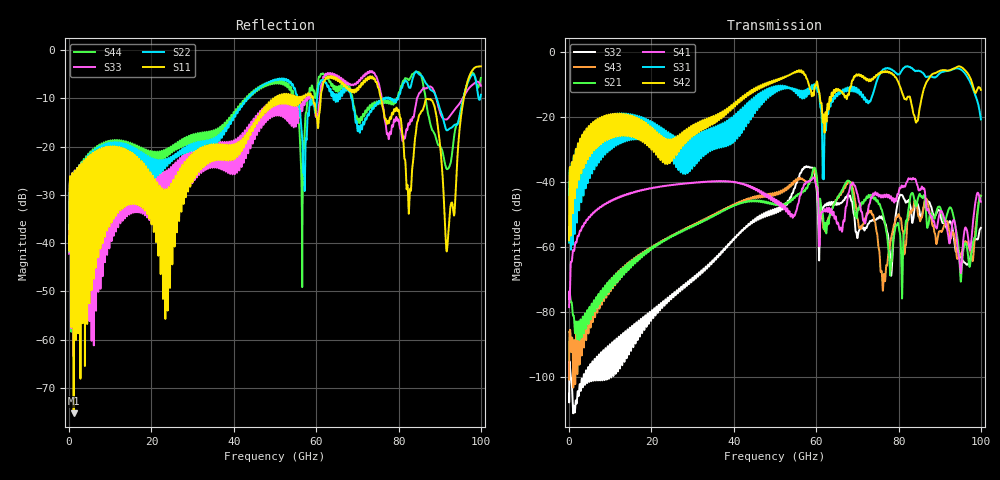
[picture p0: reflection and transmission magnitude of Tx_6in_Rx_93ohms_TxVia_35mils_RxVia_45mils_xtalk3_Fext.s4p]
! Info: Touchstone file created by Circ.  Input file=Tx_6in_Rx_93ohms_TxVia_35mils_RxVia_45mils.circ
# Hz S RI R 50
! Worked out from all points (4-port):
!   10000 points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, 10 MHz to 100 GHz, reference 50 ohm
!   strongest paths, dB at 10 MHz, 25.01 GHz, 50.01 GHz, 75.01 GHz, 100 GHz:
!     S42: -58.1, -32.9, -9.2, -6.8, -11.7
!     S31: -58.8, -29.3, -12.4, -8.0, -20.8
!     S41: -78.6, -41.0, -46.3, -43.8, -46.2
!     S21: -75.6, -56.6, -46.9, -46.1, -44.3
!     S43: -100.9, -56.4, -43.7, -58.6, -44.3
!     S32: -105.3, -74.7, -48.4, -51.3, -54.2
!   lowest |S11| = -75.3 dB at 1.11 GHz (marker M1), VSWR 1.00, Z = 50 - j0.00714 ohm
!   |S11| at or under -10 dB: start of sweep to 49.54 GHz; 59.26 GHz to 61.09 GHz (1.837 GHz wide, 3.05 % of centre); 75.77 GHz to 95.85 GHz (20.07 GHz wide, 23.4 % of centre)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
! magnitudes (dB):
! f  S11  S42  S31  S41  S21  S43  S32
! 10 MHz  -41.6  -58.1  -58.8  -78.6  -75.6  -100.9  -105.3
! 1.11 GHz  -75.3  -32.6  -32.7  -61.2  -81.3  -92.5  -109.1
! 57.44 GHz  -9.2  -7.2  -11.9  -40.5  -42.2  -39.8  -35.5
! 73.4 GHz  -5.8  -8.5  -14.2  -44.8  -44.3  -49.2  -52.1
! 88.34 GHz  -10.7  -6.7  -7.8  -52.0  -50.9  -53.5  -49.7
! 91.77 GHz  -41.5  -5.8  -5.9  -54.4  -50.1  -52.1  -54.3
! 100 GHz  -3.3  -11.7  -20.8  -46.2  -44.3  -44.3  -54.2
